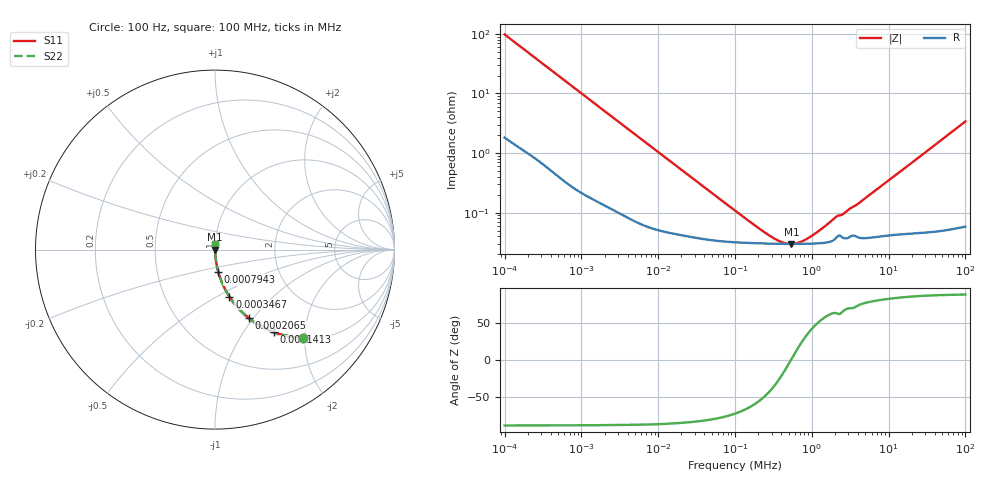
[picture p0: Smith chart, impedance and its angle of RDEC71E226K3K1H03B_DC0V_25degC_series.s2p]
!Murata Part Number: RDEC71E226K3K1H03B
!These Parameters are Measured in Series Mode Connection
!  o--ll--o
!Port1  Port2
!  o------o
!Operation Temp=25[degC], DC Bias Voltage=0[V]
!Freq. Start=100[Hz] Stop=100[MHz], 401[Steps]
!Data Generated on Sep 3, 2020
# Hz S RI R 50
!Freq.(Hz) S11(Real) S11(Imag) S21(Real) S21(Imag) S12(Real) S12(Imag) S22(Real) S22(Imag)
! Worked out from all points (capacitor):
!   401 points, 100 Hz to 100 MHz, reference 50 ohm
!   read as one part in series: C = 16.2 uF near 107.2 Hz
!   lowest |Z| = 29.9 mohm at 543.3 kHz (marker M1)
!   series resonance near 535.2 kHz, so ESL is about 5.5 nH
!   S11 on the Smith chart (normalised r, x): 100 Hz: 1.04, -1.96; 141.3 Hz: 1.03, -1.39; 206.5 Hz: 1.02, -0.96; 346.7 Hz: 1.01, -0.57; 794.3 Hz: 1.01, -0.25; 100 MHz: 1.00, +0.07
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100  0.4894 -0.4907  0.5106 0.4907  0.5106 0.4907  0.4894 -0.4907
141.2538  0.329 -0.4603  0.671 0.4603  0.671 0.4603  0.329 -0.4603
206.538  0.1907 -0.3829  0.8093 0.3829  0.8093 0.3829  0.1907 -0.3829
346.7369  0.0805 -0.262  0.9195 0.262  0.9195 0.262  0.0805 -0.262
506.9907  0.0409 -0.1882  0.9591 0.1882  0.9591 0.1882  0.0409 -0.1882
794.3282  0.0182 -0.1237  0.9818 0.1237  0.9818 0.1237  0.0182 -0.1237
1011.579  0.0118 -0.098  0.9882 0.098  0.9882 0.098  0.0118 -0.098
2660.725  0.00255 -0.0381  0.9975 0.0381  0.9975 0.0381  0.00255 -0.0381
10232.93  0.000605 -0.0101  0.9994 0.0101  0.9994 0.0101  0.000605 -0.0101
100000  0.000319 -0.00103  0.9997 0.00103  0.9997 0.00103  0.000319 -0.00103
206538  0.000306 -0.000446  0.9997 0.000446  0.9997 0.000446  0.000306 -0.000446
312607.9  0.000301 -0.00023  0.9997 0.00023  0.9997 0.00023  0.000301 -0.00023
426579.5  0.000299 -9.35e-05  0.9997 9.35e-05  0.9997 9.35e-05  0.000299 -9.35e-05
543250.3  0.000299 6.14e-06  0.9997 -6.14e-06  0.9997 -6.14e-06  0.000299 6.14e-06
716143.4  0.000299 0.000121  0.9997 -0.000121  0.9997 -0.000121  0.000299 0.000121
1011579  0.000302 0.000281  0.9997 -0.000281  0.9997 -0.000281  0.000302 0.000281
1428894  0.000311 0.000477  0.9997 -0.000477  0.9997 -0.000477  0.000311 0.000477
2018366  0.000364 0.000744  0.9996 -0.000744  0.9996 -0.000744  0.000364 0.000744
2570396  0.000377 0.000873  0.9996 -0.000873  0.9996 -0.000873  0.000377 0.000873
3890451  0.000392 0.00131  0.9996 -0.00131  0.9996 -0.00131  0.000392 0.00131
1.023293e7  0.000427 0.00352  0.9996 -0.00352  0.9996 -0.00352  0.000427 0.00352
1e8  0.00173 0.0339  0.9983 -0.0339  0.9983 -0.0339  0.00173 0.0339
